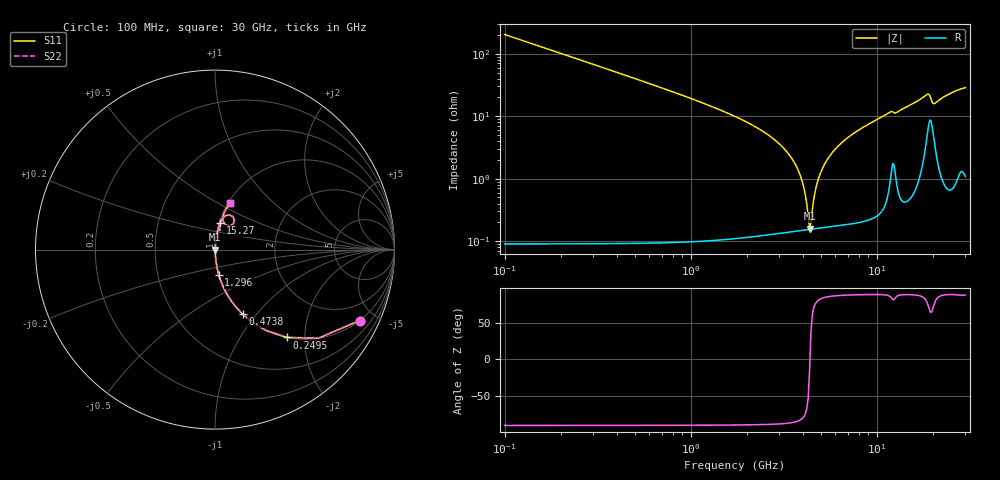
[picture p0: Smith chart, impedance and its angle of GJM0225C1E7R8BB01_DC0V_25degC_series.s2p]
!Murata Part Number: GJM0225C1E7R8BB01
!These Parameters are Measured in Series Mode Connection
!  o--ll--o
!Port1  Port2
!  o------o
!Operation Temp=25[degC], DC Bias Voltage=0[V]
!Freq. Start=100[MHz] Stop=30[GHz], 401[Steps]
!Data Generated on Feb 1, 2023
# Hz S RI R 50
!Freq.(Hz) S11(Real) S11(Imag) S21(Real) S21(Imag) S12(Real) S12(Imag) S22(Real) S22(Imag)
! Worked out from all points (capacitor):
!   401 points, 100 MHz to 30 GHz, reference 50 ohm
!   read as one part in series: C = 7.8 pF near 249.5 MHz
!   lowest |Z| = 158 mohm at 4.361 GHz (marker M1)
!   series resonance near 4.379 GHz, so ESL is about 170 pH
!   S11 on the Smith chart (normalised r, x): 100 MHz: 1.00, -4.08; 249.5 MHz: 1.00, -1.63; 473.8 MHz: 1.00, -0.85; 1.296 GHz: 1.00, -0.29; 15.27 GHz: 1.01, +0.31; 30 GHz: 1.02, +0.58
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1e8  0.8061 -0.3952  0.1939 0.3952  0.1939 0.3952  0.8061 -0.3952
2.495e8  0.3993 -0.4892  0.6007 0.4892  0.6007 0.4892  0.3993 -0.4892
4.7375e8  0.1539 -0.3598  0.8461 0.3598  0.8461 0.3598  0.1539 -0.3598
7.7275e8  0.0622 -0.2396  0.9378 0.2396  0.9378 0.2396  0.0622 -0.2396
1.296e9  0.0211 -0.1403  0.9789 0.1403  0.9789 0.1403  0.0211 -0.1403
2.86575e9  0.00294 -0.0404  0.9971 0.0404  0.9971 0.0404  0.00294 -0.0404
3.5385e9  0.00181 -0.0199  0.9982 0.0199  0.9982 0.0199  0.00181 -0.0199
3.91225e9  0.00158 -0.0105  0.9984 0.0105  0.9984 0.0105  0.00158 -0.0105
4.286e9  0.00153 -0.00199  0.9985 0.00199  0.9985 0.00199  0.00153 -0.00199
4.36075e9  0.00153 -0.000387  0.9985 0.000387  0.9985 0.000387  0.00153 -0.000387
4.51025e9  0.00156 0.00274  0.9984 -0.00274  0.9984 -0.00274  0.00156 0.00274
4.80925e9  0.00167 0.0087  0.9983 -0.0087  0.9983 -0.0087  0.00167 0.0087
5.10825e9  0.00183 0.0143  0.9982 -0.0143  0.9982 -0.0143  0.00183 0.0143
5.781e9  0.00239 0.0261  0.9976 -0.0261  0.9976 -0.0261  0.00239 0.0261
6.75275e9  0.00354 0.0415  0.9965 -0.0415  0.9965 -0.0415  0.00354 0.0415
1.01165e10  0.0104 0.0884  0.9896 -0.0884  0.9896 -0.0884  0.0104 0.0884
1.505e10  0.0263 0.1452  0.9737 -0.1452  0.9737 -0.1452  0.0263 0.1452
1.527425e10  0.0275 0.1483  0.9725 -0.1483  0.9725 -0.1483  0.0275 0.1483
1.871275e10  0.0882 0.1899  0.9118 -0.1899  0.9118 -0.1899  0.0882 0.1899
2.005825e10  0.0727 0.1333  0.9273 -0.1333  0.9273 -0.1333  0.0727 0.1333
2.50665e10  0.0577 0.2194  0.9423 -0.2194  0.9423 -0.2194  0.0577 0.2194
3e10  0.0849 0.2606  0.9151 -0.2606  0.9151 -0.2606  0.0849 0.2606
